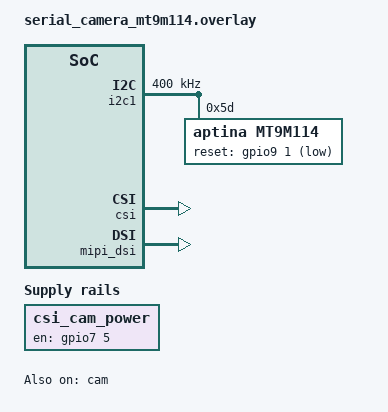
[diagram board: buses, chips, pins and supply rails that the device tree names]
/* Copyright (C) 2026 Alif Semiconductor - All Rights Reserved.
 * Use, distribution and modification of this code are permitted under the
 * terms stated in the Alif Semiconductor Software License Agreement.
 *
 * You should have received a copy of the Alif Semiconductor Software
 * License Agreement with this file. If not, please write to:
 * contact@alifsemi.com, or visit: https://alifsemi.com/license
 */

#include <dt-bindings/pinctrl/ensemble-pinctrl.h>
#include <dt-bindings/i2c/i2c.h>
#include <dt-bindings/gpio/gpio.h>
#include <dt-bindings/video/video-interfaces.h>

&gpio7 {
	status = "okay";
};

/ {
	csi_cam_power: regulator-v1.2-v1.8v {
		compatible = "regulator-fixed";

		regulator-name = "MIPI supply";

		enable-gpios = < &gpio7 5 GPIO_ACTIVE_HIGH >;

		regulator-boot-on;
		regulator-always-on;
		status = "okay";
	};
};

&gpio9 {
	status = "okay";
};

&i2c1 {
	status = "okay";
	clock-frequency = <I2C_BITRATE_FAST>;

	/*
	 * For Standard  speed LCNT=0 and HCNT=0
	 * For Fast      speed LCNT=50 and HCNT=30
	 * For Fast Plus speed LCNT=35 and HCNT=5
	 */
	hcnt-offset = <30>;
	lcnt-offset = <50>;

	mt9m114: mt9m114@5d {
		compatible = "aptina,mt9m114";
		reg = <0x5d>;

		pinctrl-0 = < &pinctrl_cam_xvclk >;
		pinctrl-names = "default";
		reset-gpios = <&gpio9 1 GPIO_ACTIVE_LOW>;
		status = "okay";

		port {
			mt9m114_csi2_ep_out: endpoint {
				bus-type = <VIDEO_BUS_TYPE_CSI2_DPHY>;
				link-frequencies = < 384000000 >;
				data-lanes = <0x1>;
				clock-lane = <0>;
				remote-endpoint-label = "csi2_ep_in";
			};
		};
	};
};

&cam {
	status = "okay";

	pinctrl-0 = <&pinctrl_cam_xvclk>;
	pinctrl-names = "default";

	ports {
		#address-cells = <1>;
		#size-cells = <0>;

		/* MIPI CSI-2 bus endpoint. */
		port@0 {
			reg = <0>;
			cam_csi2_ep_in: endpoint {
				remote-endpoint-label = "csi2_ep_out";
			};
		};

		/* Video buffer output endpoint. */
		port@1 {
			reg = <1>;
			cam_mem_ep_out: endpoint {
				remote-endpoint-label = "application";
			};
		};
	};
};

&csi {
	status = "okay";

	/* RX-DPHY */
	phy-if = <&dphy 0>;

	csi-hact = <640>;
	csi-vact = <480>;
	ports {
		#address-cells = <1>;
		#size-cells = <0>;
		port@0 {
			reg = <0>;
			csi2_ep_in: endpoint {
				bus-type = <VIDEO_BUS_TYPE_CSI2_DPHY>;
				link-frequencies = <384000000>;
				data-lanes = <1>;
				clock-lane = <0>;

				remote-endpoint-label = "mt9m114_csi2_ep_out";
			};
		};
		port@2 {
			reg = <2>;
			csi2_ep_out: endpoint {
				remote-endpoint-label = "cam_csi2_ep_in";
				bus-type = <VIDEO_BUS_TYPE_PARALLEL>;
			};
		};
	};
};
&mipi_dsi {
	status = "okay";
};
